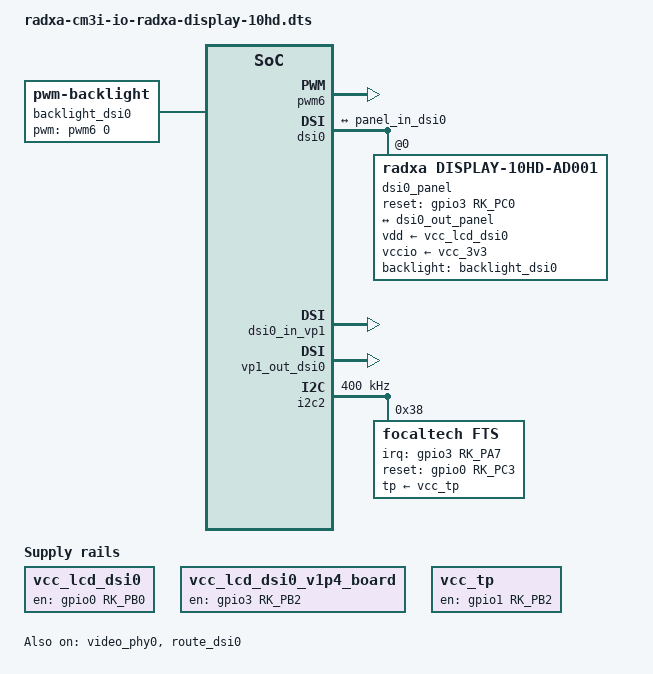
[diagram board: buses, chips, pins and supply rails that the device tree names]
/dts-v1/;
/plugin/;

#include <dt-bindings/gpio/gpio.h>
#include <dt-bindings/pinctrl/rockchip.h>
#include <dt-bindings/display/drm_mipi_dsi.h>
#include "dt-bindings/display/drm_mipi_dsi_overlay.h"
#include <dt-bindings/interrupt-controller/irq.h>
#include <dt-bindings/pwm/pwm.h>

/ {
	metadata {
		title = "Enable Radxa Display 10HD";
		compatible = "radxa,cm3i-io";
		category = "display";
		exclusive = "dsi0", "vp1";
		description = "Enable Radxa Display 10HD.";
	};
};

&{/} {
	vcc_lcd_dsi0: vcc-lcd-dsi0 {
		status = "okay";
		compatible = "regulator-fixed";
		regulator-name = "vcc_lcd_mipi";
		gpio = <&gpio0 RK_PB0 GPIO_ACTIVE_HIGH>;
		enable-active-high;
		regulator-always-on;
		regulator-state-mem {
			regulator-off-in-suspend;
		};
	};

	vcc_lcd_dsi0_v1p4_board: vcc-lcd-dsi0-v1p4-board {
		status = "okay";
		compatible = "regulator-fixed";
		regulator-name = "vcc_lcd_mipi_v1p4_board";
		gpio = <&gpio3 RK_PB2 GPIO_ACTIVE_HIGH>;
		enable-active-high;
		regulator-always-on;
		regulator-state-mem {
			regulator-off-in-suspend;
		};
	};

	vcc_tp: vcc-tp {
		status = "okay";
		compatible = "regulator-fixed";
		regulator-name = "vcc_tp";
		gpio = <&gpio1 RK_PB2 GPIO_ACTIVE_HIGH>;
		enable-active-high;
		regulator-always-on;
		regulator-state-mem {
			regulator-off-in-suspend;
		};
	};

	backlight_dsi0: backlight-dsi0 {
		status = "okay";
		compatible = "pwm-backlight";
		pwms = <&pwm6 0 25000 PWM_POLARITY_INVERTED>;
		brightness-levels = <0 255>;
		num-interpolated-steps = <255>;
		default-brightness-level = <200>;
	};
};

&pwm6 {
	status = "okay";
};

&dsi0 {
	status = "okay";
	#address-cells = <1>;
	#size-cells = <0>;
	rockchip,lane-rate = <480>;

	dsi0_panel: panel@0 {
		status = "okay";
		compatible = "radxa,display-10hd-ad001";
		reg = <0>;
		backlight = <&backlight_dsi0>;

		vdd-supply = <&vcc_lcd_dsi0>;
		vccio-supply = <&vcc_3v3>;
		reset-gpios = <&gpio3 RK_PC0 GPIO_ACTIVE_HIGH>;
		pinctrl-names = "default";
		pinctrl-0 = <&dsi0_lcd_rst_gpio>;

		ports {
			#address-cells = <1>;
			#size-cells = <0>;

			port@0 {
				reg = <0>;
				panel_in_dsi0: endpoint {
					remote-endpoint = <&dsi0_out_panel>;
				};
			};
		};
	};

	ports {
		#address-cells = <1>;
		#size-cells = <0>;

		port@1 {
			reg = <1>;
			dsi0_out_panel: endpoint {
				remote-endpoint = <&panel_in_dsi0>;
			};
		};
	};
};

&video_phy0 {
	status = "okay";
};

&dsi0_in_vp0 {
	status = "disabled";
};

&dsi0_in_vp1 {
	status = "okay";
};

&vp0_out_dsi0 {
	status = "disabled";
};

&vp1_out_dsi0 {
	status = "okay";
};

&route_dsi0 {
	status = "okay";
	connect = <&vp1_out_dsi0>;
};

&i2c2 {
	status = "okay";
	pinctrl-0 = <&i2c2m0_xfer>;
	clock-frequency = <400000>;
	#address-cells = <1>;
	#size-cells = <0>;

	focaltech: focaltech@38 {
		status = "okay";
		compatible = "focaltech,fts";
		reg = <0x38>;
		pinctrl-names = "default";
		pinctrl-0 = <&focaltech_gpio>;
		focaltech,irq-gpio = <&gpio3 RK_PA7 IRQ_TYPE_LEVEL_LOW>;
		focaltech,reset-gpio = <&gpio0 RK_PC3 GPIO_ACTIVE_HIGH>;
		focaltech,display-coords = <0 0 799 1279>;
		tp-supply = <&vcc_tp>;
	};
};

&pinctrl {
	dsi0-lcd {
		dsi0_lcd_rst_gpio: dsi0-lcd-rst-gpio {
			rockchip,pins = <3 RK_PC0 RK_FUNC_GPIO &pcfg_pull_up>;
		};
	};

	focaltech {
		focaltech_gpio: focaltech-gpio {
			rockchip,pins =
			<0 RK_PC3 RK_FUNC_GPIO &pcfg_pull_up>,
			<3 RK_PA7 RK_FUNC_GPIO &pcfg_pull_none>;
		};
	};
};
